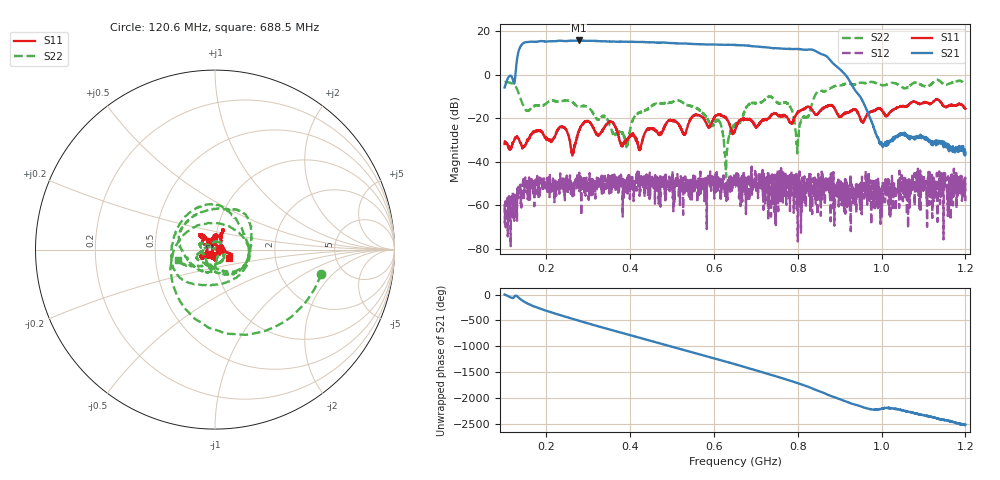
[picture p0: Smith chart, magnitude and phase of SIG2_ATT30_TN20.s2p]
# Hz S DB R 50
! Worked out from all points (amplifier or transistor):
!   1601 points, 100 MHz to 1.2 GHz, reference 50 ohm
!   highest |S21| = 15.7 dB at 277.4 MHz (marker M1)
!   |S21| within 3 dB of that: 137.2 MHz to 713 MHz (575.8 MHz wide, 135 % of centre)
!   unconditionally stable (mu >= 1): start of sweep to end of sweep
!   at 282.9 MHz: K = 135.66, MAG = 15.8 dB, |S12| = -64.7 dB
!   at 650 MHz: K = 37.97, MAG = 13.6 dB, |S12| = -51.3 dB
!   at 1.2 GHz: K = 14700.39, MAG = -33.5 dB, |S12| = -58.1 dB
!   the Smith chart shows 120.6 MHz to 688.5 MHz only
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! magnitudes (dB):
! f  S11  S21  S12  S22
! 100 MHz  -31.8  -5.9  -59.4  -3.5
! 122 MHz  -30.6  -3.9  -56.1  -4.5
! 146.1 MHz  -32.9  14.6  -57.8  -14.7
! 237.5 MHz  -24.0  15.5  -49.1  -12.1
! 262.9 MHz  -36.2  15.6  -50.3  -12.7
! 277.4 MHz  -26.0  15.7  -52.7  -14.6
! 283.6 MHz  -23.5  15.5  -47.7  -14.5
! 355.1 MHz  -21.7  15.2  -47.8  -25.4
! 391.5 MHz  -30.1  15.1  -48.6  -31.9
! 412.8 MHz  -28.7  15.0  -48.7  -18.8
! 467.1 MHz  -27.5  14.7  -48.3  -13.1
! 610.1 MHz  -18.3  13.8  -47.1  -20.7
! 628 MHz  -19.9  13.7  -49.8  -43.2
! 650 MHz  -25.9  13.6  -51.3  -22.8
! 734.6 MHz  -19.0  12.3  -48.4  -10.1
! 780.6 MHz  -21.7  11.8  -46.1  -14.5
! 799.2 MHz  -17.3  11.7  -54.5  -32.7
! 833.6 MHz  -16.1  11.5  -57.8  -13.5
! 914 MHz  -17.6  -0.2  -48.1  -4.2
! 997.9 MHz  -15.6  -31.8  -54.5  -4.6
! 1.017 GHz  -17.9  -30.7  -48.4  -4.3
! 1.2 GHz  -15.7  -35.7  -58.1  -4.2
